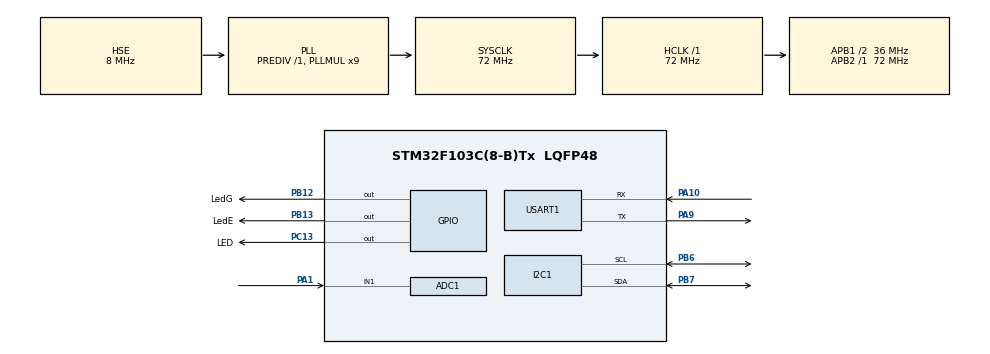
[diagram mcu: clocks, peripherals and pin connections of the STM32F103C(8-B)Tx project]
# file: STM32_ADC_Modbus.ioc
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ADC1.Channel-1\#ChannelInjectedConversion=ADC_CHANNEL_1
ADC1.EnableInjectedConversion=ENABLE
ADC1.EnableRegularConversion=DISABLE
ADC1.InjNumberOfConversion=1
ADC1.InjectedOffset-1\#ChannelInjectedConversion=0
ADC1.Rank-1\#ChannelInjectedConversion=1
ADC1.SamplingTime-1\#ChannelInjectedConversion=ADC_SAMPLETIME_55CYCLES_5
ADC1.master=1
FREERTOS.Tasks01=defaultTask,24,128,StartDefaultTask,Default,NULL,Dynamic,NULL,NULL;myTaskSlave,8,128,StartTaskSlave,Default,NULL,Dynamic,NULL,NULL;myTaskLEDs,8,128,StartTaskLEDs,Default,NULL,Dynamic,NULL,NULL
Mcu.Family=STM32F1
Mcu.Name=STM32F103C(8-B)Tx
Mcu.Package=LQFP48
NVIC.ADC1_2_IRQn=true\:5\:0\:false\:false\:true\:true\:true\:true\:true
NVIC.PriorityGroup=NVIC_PRIORITYGROUP_4
NVIC.USART1_IRQn=true\:5\:0\:true\:false\:true\:true\:true\:true\:true
PA1.Signal=ADCx_IN1
PA10.Mode=Asynchronous
PA10.Signal=USART1_RX
PA13.Mode=Serial_Wire
PA13.Signal=SYS_JTMS-SWDIO
PA14.Mode=Serial_Wire
PA14.Signal=SYS_JTCK-SWCLK
PA9.Mode=Asynchronous
PA9.Signal=USART1_TX
PB12.GPIO_Label=LedG
PB12.GPIO_PuPd=GPIO_PULLDOWN
PB12.Signal=GPIO_Output
PB13.GPIO_Label=LedE
PB13.GPIO_PuPd=GPIO_PULLDOWN
PB13.Signal=GPIO_Output
PB6.Mode=I2C
PB6.Signal=I2C1_SCL
PB7.Mode=I2C
PB7.Signal=I2C1_SDA
PC13-TAMPER-RTC.GPIO_Label=LED
PC13-TAMPER-RTC.Signal=GPIO_Output
PD0-OSC_IN.Mode=HSE-External-Oscillator
PD0-OSC_IN.Signal=RCC_OSC_IN
PD1-OSC_OUT.Mode=HSE-External-Oscillator
PD1-OSC_OUT.Signal=RCC_OSC_OUT
ProjectManager.HeapSize=0x200
ProjectManager.StackSize=0x400
ProjectManager.TargetToolchain=STM32CubeIDE
RCC.ADCPresc=RCC_ADCPCLK2_DIV6
RCC.AHBFreq_Value=72000000
RCC.APB1CLKDivider=RCC_HCLK_DIV2
RCC.APB1Freq_Value=36000000
RCC.APB1TimFreq_Value=72000000
RCC.APB2Freq_Value=72000000
RCC.APB2TimFreq_Value=72000000
RCC.HCLKFreq_Value=72000000
RCC.PLLMUL=RCC_PLL_MUL9
RCC.PLLSourceVirtual=RCC_PLLSOURCE_HSE
RCC.SYSCLKFreq_VALUE=72000000
RCC.SYSCLKSource=RCC_SYSCLKSOURCE_PLLCLK
RCC.USBFreq_Value=72000000
SH.ADCx_IN1.0=ADC1_IN1,IN1
TIM3.Period=65000
TIM3.Prescaler=720
TIM3.TIM_MasterOutputTrigger=TIM_TRGO_UPDATE
USART1.VirtualMode=VM_ASYNC
VP_FREERTOS_VS_CMSIS_V2.Mode=CMSIS_V2
VP_TIM3_VS_ClockSourceINT.Mode=Internal
board=custom

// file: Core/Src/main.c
/* USER CODE BEGIN Header */
/**
  ******************************************************************************
  * @file           : main.c
  * @brief          : Main program body
  ******************************************************************************
  * @attention
  *
  * <h2><center>&copy; Copyright (c) 2021 STMicroelectronics.
  * All rights reserved.</center></h2>
  *
  * This software component is licensed by ST under BSD 3-Clause license,
  * the "License"; You may not use this file except in compliance with the
  * License. You may obtain a copy of the License at:
  *                        opensource.org/licenses/BSD-3-Clause
  *
  ******************************************************************************
  */
/* USER CODE END Header */
#include "main.h"
#include "cmsis_os.h"
#include "adc.h"
#include "i2c.h"
#include "tim.h"
#include "usart.h"
#include "gpio.h"

/* USER CODE BEGIN Includes */
//#include "Modbus.h"
#include "ee24.h"
/* USER CODE END Includes */

/* USER CODE BEGIN PV */
modbusHandler_t ModbusH;
uint16_t ModbusDATA[8] = {17,0,0,0,123,6,7,8};

char trans_str[64] = {0,};
volatile uint16_t adc;
volatile float adc_float;
/* USER CODE END PV */

void SystemClock_Config(void);
void MX_FREERTOS_Init(void);

/* USER CODE BEGIN 0 */
//uint8_t data[8];

void HAL_ADCEx_InjectedConvCpltCallback(ADC_HandleTypeDef* hadc)
{
    if(hadc->Instance == ADC1) //check if the interrupt comes from ACD1
    {

    adc = HAL_ADCEx_InjectedGetValue(&hadc1, ADC_INJECTED_RANK_1);
    ModbusDATA[1]= adc;
    adc_float = (float) (adc+.0) / ModbusDATA[4];

    ModbusDATA[2]= (uint16_t)adc_float;
    ModbusDATA[3]= (uint16_t)((adc_float-ModbusDATA[2])*100);
	adc = 0;
	adc_float = 0;
    }
}

void start_Injected(void){
	HAL_ADCEx_InjectedStart_IT(&hadc1);
}

/* USER CODE END 0 */

int main(void)
{

  /* MCU Configuration--------------------------------------------------------*/

  /* Reset of all peripherals, Initializes the Flash interface and the Systick. */
  HAL_Init();

  /* Configure the system clock */
  SystemClock_Config();

  /* Initialize all configured peripherals */
  MX_GPIO_Init();
  MX_USART1_UART_Init();
  MX_I2C1_Init();
  MX_ADC1_Init();
  MX_TIM3_Init();
  /* USER CODE BEGIN 2 */
  ModbusH.uModbusType = MB_SLAVE;
  ModbusH.port =  &huart1;
  ModbusH.u8id = 17; //Modbus slave ID
  ModbusH.u16timeOut = 1000;
  ModbusH.EN_Port = NULL;
  ModbusH.u16regs = ModbusDATA;
  ModbusH.u16regsize= sizeof(ModbusDATA)/sizeof(ModbusDATA[0]);
  ModbusH.xTypeHW = USART_HW;
  //Initialize Modbus library
  ModbusInit(&ModbusH);
  //Start capturing traffic on serial Port
  ModbusStart(&ModbusH);

  HAL_GPIO_WritePin(LedG_GPIO_Port, LedG_Pin, 0);
  HAL_GPIO_WritePin(LedE_GPIO_Port, LedE_Pin, 1);

  HAL_ADCEx_Calibration_Start(&hadc1);
  /* USER CODE END 2 */

  /* Init scheduler */
  osKernelInitialize();  /* Call init function for freertos objects (in freertos.c) */
  MX_FREERTOS_Init();
  /* Start scheduler */
  osKernelStart();

  /* We should never get here as control is now taken by the scheduler */
  /* Infinite loop */
  while (1)
  {

  }
}

void SystemClock_Config(void)
{
  RCC_OscInitTypeDef RCC_OscInitStruct = {0};
  RCC_ClkInitTypeDef RCC_ClkInitStruct = {0};
  RCC_PeriphCLKInitTypeDef PeriphClkInit = {0};

  /** Initializes the RCC Oscillators according to the specified parameters
  * in the RCC_OscInitTypeDef structure.
  */
  RCC_OscInitStruct.OscillatorType = RCC_OSCILLATORTYPE_HSE;
  RCC_OscInitStruct.HSEState = RCC_HSE_ON;
  RCC_OscInitStruct.HSEPredivValue = RCC_HSE_PREDIV_DIV1;
  RCC_OscInitStruct.HSIState = RCC_HSI_ON;
  RCC_OscInitStruct.PLL.PLLState = RCC_PLL_ON;
  RCC_OscInitStruct.PLL.PLLSource = RCC_PLLSOURCE_HSE;
  RCC_OscInitStruct.PLL.PLLMUL = RCC_PLL_MUL9;
  if (HAL_RCC_OscConfig(&RCC_OscInitStruct) != HAL_OK)
  {
    Error_Handler();
  }
  /** Initializes the CPU, AHB and APB buses clocks
  */
  RCC_ClkInitStruct.ClockType = RCC_CLOCKTYPE_HCLK|RCC_CLOCKTYPE_SYSCLK
                              |RCC_CLOCKTYPE_PCLK1|RCC_CLOCKTYPE_PCLK2;
  RCC_ClkInitStruct.SYSCLKSource = RCC_SYSCLKSOURCE_PLLCLK;
  RCC_ClkInitStruct.AHBCLKDivider = RCC_SYSCLK_DIV1;
  RCC_ClkInitStruct.APB1CLKDivider = RCC_HCLK_DIV2;
  RCC_ClkInitStruct.APB2CLKDivider = RCC_HCLK_DIV1;

  if (HAL_RCC_ClockConfig(&RCC_ClkInitStruct, FLASH_LATENCY_2) != HAL_OK)
  {
    Error_Handler();
  }
  PeriphClkInit.PeriphClockSelection = RCC_PERIPHCLK_ADC;
  PeriphClkInit.AdcClockSelection = RCC_ADCPCLK2_DIV6;
  if (HAL_RCCEx_PeriphCLKConfig(&PeriphClkInit) != HAL_OK)
  {
    Error_Handler();
  }
}

void Error_Handler(void)
{
  __disable_irq();
  while (1)
  {
  }
}

/************************ (C) COPYRIGHT STMicroelectronics *****END OF FILE****/

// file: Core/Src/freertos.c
/* USER CODE BEGIN Header */
/**
  ******************************************************************************
  * File Name          : freertos.c
  * Description        : Code for freertos applications
  ******************************************************************************
  * @attention
  *
  * <h2><center>&copy; Copyright (c) 2021 STMicroelectronics.
  * All rights reserved.</center></h2>
  *
  * This software component is licensed by ST under Ultimate Liberty license
  * SLA0044, the "License"; You may not use this file except in compliance with
  * the License. You may obtain a copy of the License at:
  *                             www.st.com/SLA0044
  *
  ******************************************************************************
  */
/* USER CODE END Header */

#include "FreeRTOS.h"
#include "task.h"
#include "main.h"
#include "cmsis_os.h"

/* USER CODE BEGIN Includes */
#include "semphr.h"
/* USER CODE END Includes */

/* USER CODE BEGIN Variables */
osSemaphoreId_t LedsSphrHandle;
/* USER CODE END Variables */
/* Definitions for defaultTask */
osThreadId_t defaultTaskHandle;
const osThreadAttr_t defaultTask_attributes = {
  .name = "defaultTask",
  .priority = (osPriority_t) osPriorityNormal,
  .stack_size = 128 * 4
};
/* Definitions for myTaskSlave */
osThreadId_t myTaskSlaveHandle;
const osThreadAttr_t myTaskSlave_attributes = {
  .name = "myTaskSlave",
  .priority = (osPriority_t) osPriorityLow,
  .stack_size = 128 * 4
};
/* Definitions for myTaskLEDs */
osThreadId_t myTaskLEDsHandle;
const osThreadAttr_t myTaskLEDs_attributes = {
  .name = "myTaskLEDs",
  .priority = (osPriority_t) osPriorityLow,
  .stack_size = 128 * 4
};

void StartDefaultTask(void *argument);
void StartTaskSlave(void *argument);
void StartTaskLEDs(void *argument);

void MX_FREERTOS_Init(void); /* (MISRA C 2004 rule 8.1) */

void MX_FREERTOS_Init(void) {

  /* Create the thread(s) */
  /* creation of defaultTask */
  defaultTaskHandle = osThreadNew(StartDefaultTask, NULL, &defaultTask_attributes);

  /* creation of myTaskSlave */
  myTaskSlaveHandle = osThreadNew(StartTaskSlave, NULL, &myTaskSlave_attributes);

  /* creation of myTaskLEDs */
  myTaskLEDsHandle = osThreadNew(StartTaskLEDs, NULL, &myTaskLEDs_attributes);

}

void StartDefaultTask(void *argument)
{
  for(;;)
  {
	  osDelay(1);
  }
}

void StartTaskSlave(void *argument)
{
  /* USER CODE BEGIN StartTaskSlave */
  /* Infinite loop */
  for(;;)
  {
	  xSemaphoreTake(ModbusH.ModBusSphrHandle , 100);
	  //HAL_GPIO_WritePin(LED_GPIO_Port, LED_Pin, ModbusH.u16regs[0] & 0x1);

	  HAL_GPIO_WritePin(LED_GPIO_Port, LED_Pin, ModbusH.st);
	  ModbusH.st=1;
	  xSemaphoreGive(ModbusH.ModBusSphrHandle);
	  osDelay(200);
  }
  /* USER CODE END StartTaskSlave */
}

void StartTaskLEDs(void *argument)
{
  /* USER CODE BEGIN StartTaskLEDs */
  /* Infinite loop */
  for(;;)
  {
	  //xSemaphoreTake(LedsSphrHandle,100);
	  HAL_GPIO_TogglePin(LedG_GPIO_Port, LedG_Pin);
	  HAL_GPIO_TogglePin(LedE_GPIO_Port, LedE_Pin);
	  //ModbusDATA[2]=ModbusDATA[1]/ModbusDATA[4];
	  start_Injected();
	  //xSemaphoreGive(LedsSphrHandle);
    osDelay(1000);
  }
  /* USER CODE END StartTaskLEDs */
}

/************************ (C) COPYRIGHT STMicroelectronics *****END OF FILE****/
